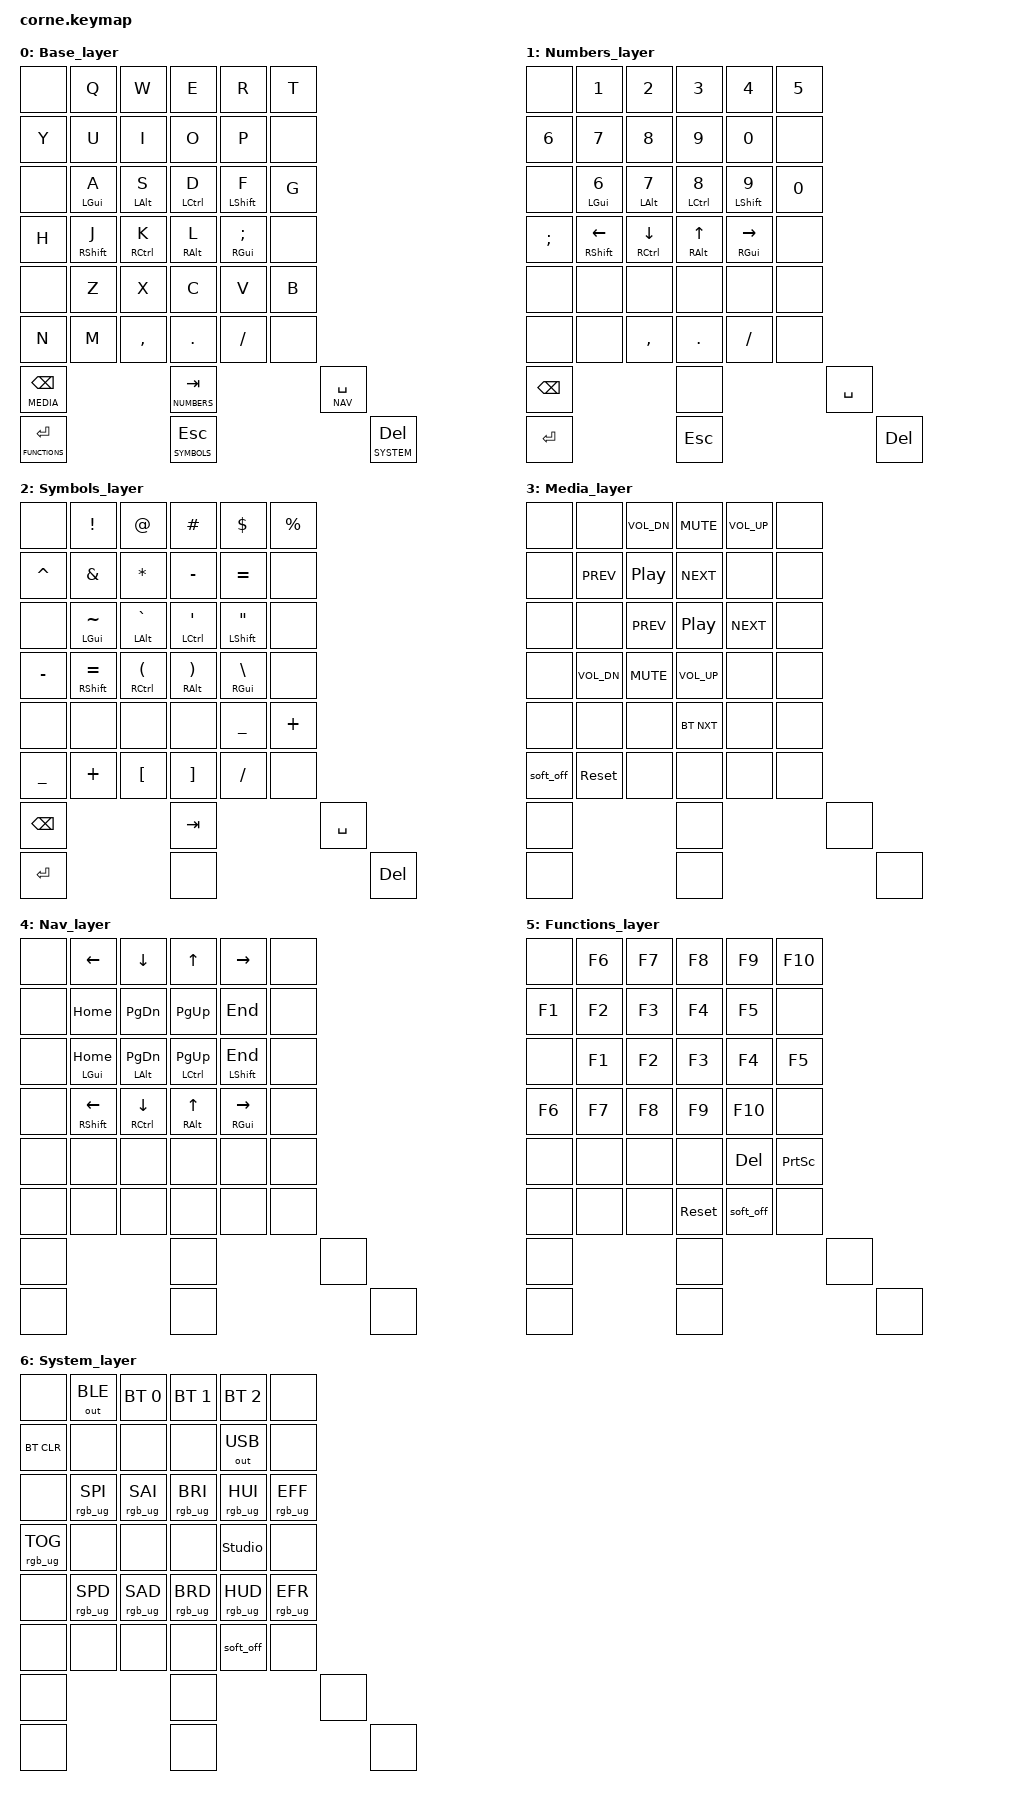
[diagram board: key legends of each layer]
#include <behaviors.dtsi>
#include <dt-bindings/zmk/keys.h>
#include <dt-bindings/zmk/bt.h>
#include <dt-bindings/zmk/outputs.h>
#include <dt-bindings/zmk/rgb.h>
#include <dt-bindings/led/led.h>
#include <dt-bindings/zmk/backlight.h>
#include <dt-bindings/zmk/reset.h>

#define BASE 0
#define NUMBERS 1
#define SYMBOLS 2
#define MEDIA 3
#define NAV 4
#define SYSTEM 5
#define FUNCTIONS 6
&led_strip {
    chain-length = <29>;
};

&soft_off {
    hold-time-ms = <5000>;
};


&lt {
     tapping-term-ms = <200>;
      quick_tap_ms = <200>;
};

/ {
behaviors {
    hm: homerow_mods {
      compatible = "zmk,behavior-hold-tap";
      label = "HOMEROW_MODS";
      #binding-cells = <2>;
      tapping-term-ms = <200>;
      quick_tap_ms = <200>;
      require-prior-idle-ms = <125>;
      flavor = "tap-preferred";
      bindings = <&kp>, <&kp>;
    };
  };
  keymap {
    compatible = "zmk,keymap";

    Base_layer {
      bindings = <
       &none &kp Q &kp W &kp E &kp R &kp T 
       &kp Y &kp U &kp I &kp O &kp P &none
       &none &hm LGUI A &hm LALT S &hm LCTRL D &hm LSHFT F &kp G 
       &kp H &hm RSHFT J &hm RCTRL K &hm RALT L &hm RGUI SEMICOLON &none
       &none &kp Z &kp X &kp C &kp V &kp B 
       &kp N &kp M &kp COMMA &kp PERIOD &kp SLASH &none
       &lt MEDIA BACKSPACE &lt NUMBERS TAB &lt NAV SPACE
       &lt FUNCTIONS RETURN &lt SYMBOLS ESCAPE &lt SYSTEM DEL
      >;
    };

    Numbers_layer {
      bindings = <
       &none &kp NUMBER_1 &kp NUMBER_2 &kp NUMBER_3 &kp NUMBER_4 &kp NUMBER_5 
       &kp NUMBER_6 &kp NUMBER_7 &kp NUMBER_8 &kp NUMBER_9 &kp NUMBER_0 &none
       &none &hm LGUI NUMBER_6 &hm LALT NUMBER_7 &hm LCTRL NUMBER_8 &hm LSHFT NUMBER_9 &kp NUMBER_0 
       &kp SEMICOLON &hm RSHFT LEFT &hm RCTRL DOWN &hm RALT UP &hm RGUI RIGHT &none 
       &none &none &none &none &none &none 
       &none &none &kp COMMA &kp PERIOD &kp SLASH &none
       &kp BACKSPACE &none &kp SPACE
       &kp RETURN &kp ESCAPE &kp DEL
      >;
    };

    Symbols_layer {
      bindings = <
       &none &kp EXCLAMATION &kp AT &kp HASH &kp DOLLAR &kp PERCENT
       &kp CARET &kp AMPS &kp ASTERISK &kp MINUS &kp EQUAL &none 
       &none &hm LGUI TILDE &hm LALT GRAVE  &hm LCTRL SQT &hm LSHFT DQT &none 
       &kp MINUS &hm RSHFT EQUAL &hm RCTRL LPAR &hm RALT RPAR &hm RGUI BACKSLASH &none 
       &none &none &none &none &kp UNDERSCORE &kp PLUS 
       &kp UNDERSCORE &kp PLUS &kp LBKT &kp RBKT &kp SLASH &none 
       &kp BACKSPACE &kp TAB &kp SPACE
       &kp RETURN &none &kp DEL
      >;
    };

    Media_layer {
      bindings = <
       &none &none &kp C_VOL_DN &kp C_MUTE &kp C_VOL_UP &none 
       &none &kp C_PREV &kp C_PP &kp C_NEXT &none &none
       &none &none &kp C_PREV &kp C_PP &kp C_NEXT &none 
       &none &kp C_VOL_DN &kp C_MUTE  &kp C_VOL_UP &none &none
       &none  &none  &none &bt BT_NXT  &none  &none 
       &soft_off &sys_reset &none &none &none &none
       &none &none &none 
       &none &none &none 
      >;
    };

    Nav_layer {
      bindings = <
       &none  &kp LEFT &kp DOWN &kp UP &kp RIGHT &none 
       &none  &kp HOME &kp PAGE_DOWN &kp PAGE_UP &kp END &none 
       &none &hm LGUI HOME &hm LALT PAGE_DOWN &hm LCTRL PAGE_UP &hm LSHFT END &none 
       &none &hm RSHFT LEFT &hm RCTRL DOWN &hm RALT UP &hm RGUI RIGHT &none 
       &none  &none &none &none &none &none 
       &none  &none &none &none &none &none 
       &none &none &none 
       &none &none &none 
      >;
    };

    Functions_layer {
      bindings = <
       &none  &kp F6 &kp F7 &kp F8 &kp F9 &kp F10 
       &kp F1 &kp F2 &kp F3 &kp F4 &kp F5 &none  
       &none  &kp F1 &kp F2 &kp F3 &kp F4 &kp F5 
       &kp F6 &kp F7 &kp F8 &kp F9 &kp F10 &none  
       &none &none &none &none &kp DEL &kp PRINTSCREEN 
       &none &none &none &sys_reset &soft_off &none 
       &none &none &none 
       &none &none &none 
      >;
    };

    System_layer {
      bindings = <
       &none &out OUT_BLE &bt BT_SEL 0  &bt BT_SEL 1  &bt BT_SEL 2 &none 
       &bt BT_CLR  &none  &none &none &out OUT_USB &none 
       &none  &rgb_ug RGB_SPI &rgb_ug RGB_SAI &rgb_ug RGB_BRI &rgb_ug RGB_HUI &rgb_ug RGB_EFF 
       &rgb_ug RGB_TOG  &none &none  &none &studio_unlock  &none 
       &none  &rgb_ug RGB_SPD &rgb_ug RGB_SAD &rgb_ug RGB_BRD &rgb_ug RGB_HUD &rgb_ug RGB_EFR 
       &none  &none &none &none &soft_off &none 
       &none &none &none 
       &none &none &none 
      >;
    };
  };
};
